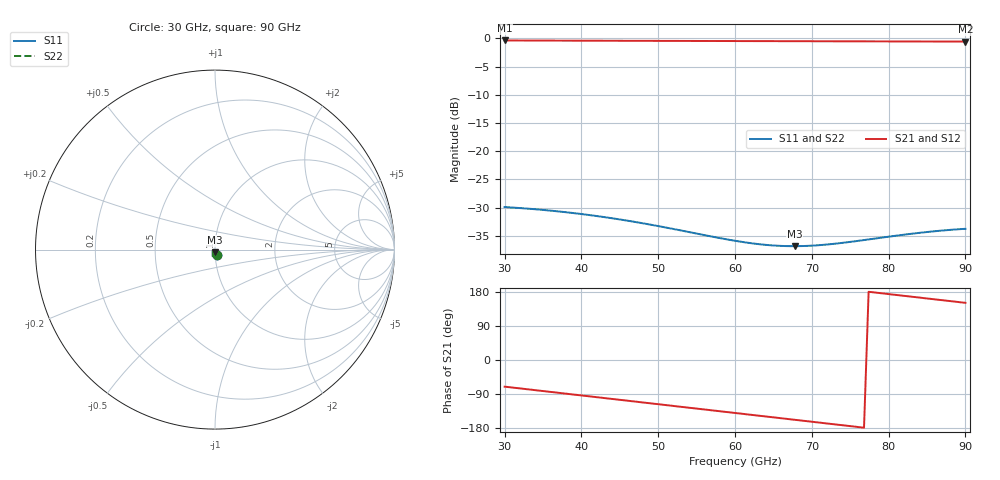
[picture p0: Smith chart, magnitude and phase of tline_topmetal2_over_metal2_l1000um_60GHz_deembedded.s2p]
! Created with skrf 2.2.0 (http://scikit-rf.org).
# GHz S DB R 50.0
! Port[1] = P1
! Port[2] = P2
!freq dBS11 angS11 dBS21 angS21 dBS12 angS12 dBS22 angS22
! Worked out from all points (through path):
!   101 points, 30 GHz to 90 GHz, reference 50 ohm
!   highest |S21| = -0.38 dB at 30 GHz (marker M1); lowest = -0.6 dB at 90 GHz (marker M2)
!   group delay of S21, straight-line fit = 6.43 ps
!   lowest |S11| = -36.8 dB at 67.8 GHz (marker M3), VSWR 1.03, Z = 49.8 - j1.43 ohm
!   |S11| at or under -10 dB: start of sweep to end of sweep
!   |S22| runs from -36.9 to -29.9 dB; largest |S21 - S12| = 1.1e-14
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30  -29.90 -65.3  -0.38 -70.3  -0.38 -70.3  -29.93 -65.3
33  -30.18 -72.4  -0.39 -77.3  -0.39 -77.3  -30.22 -72.4
35.4  -30.46 -77.8  -0.40 -82.8  -0.40 -82.8  -30.50 -77.8
37.8  -30.79 -83.0  -0.41 -88.4  -0.41 -88.4  -30.84 -82.9
40.2  -31.17 -87.8  -0.41 -94.0  -0.41 -94.0  -31.23 -87.7
42.6  -31.61 -92.2  -0.42 -99.5  -0.42 -99.5  -31.67 -92.1
45  -32.10 -96.1  -0.43 -105.1  -0.43 -105.1  -32.17 -96.0
47.4  -32.64 -99.5  -0.44 -110.6  -0.44 -110.6  -32.72 -99.4
50.4  -33.37 -102.9  -0.45 -117.6  -0.45 -117.6  -33.47 -102.7
55.2  -34.65 -105.8  -0.47 -128.7  -0.47 -128.7  -34.76 -105.3
60  -35.88 -104.6  -0.48 -139.8  -0.48 -139.8  -35.99 -103.9
64.2  -36.62 -100.4  -0.49 -149.5  -0.49 -149.5  -36.72 -99.3
67.8  -36.83 -95.4  -0.51 -157.8  -0.51 -157.8  -36.89 -94.2
70.2  -36.73 -92.2  -0.51 -163.4  -0.51 -163.4  -36.75 -90.9
73.2  -36.37 -89.0  -0.52 -170.3  -0.52 -170.3  -36.36 -87.7
75.6  -35.97 -87.4  -0.53 -175.9  -0.53 -175.9  -35.93 -86.1
78  -35.53 -86.7  -0.54 178.6  -0.54 178.6  -35.47 -85.5
80.4  -35.08 -86.8  -0.55 173.0  -0.55 173.0  -35.01 -85.7
82.8  -34.66 -87.6  -0.55 167.5  -0.55 167.5  -34.58 -86.6
85.2  -34.30 -89.0  -0.56 161.9  -0.56 161.9  -34.21 -88.1
87.6  -33.99 -90.9  -0.57 156.4  -0.57 156.4  -33.90 -90.0
90  -33.76 -93.0  -0.58 150.8  -0.58 150.8  -33.65 -92.2
